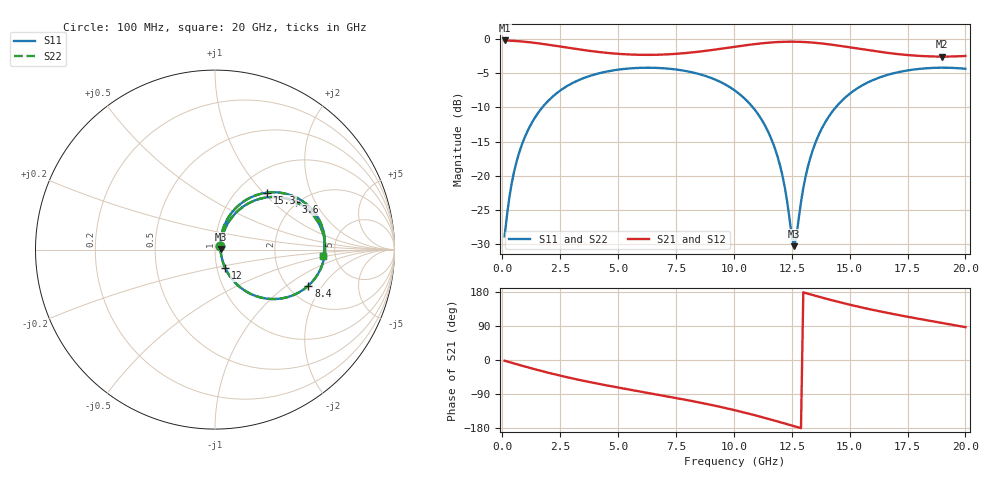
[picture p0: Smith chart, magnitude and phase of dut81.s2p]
! Touchstone file exported from HFSS 2026.1.0
!  File:  C:/ffzhzh/LocalFiles/Ansys_Project_Files/temp_train_TSV_RDL_81_1782971563_45308.aedt
!  Generated:  02:03:39 PM Jul  2, 2026
!  Design:  TSV_RDL
!  Project:  temp_train_TSV_RDL_81_1782971563_45308
! Variables:
!  h_bsmrdl = 5.05um
!  h_ox = 20um
!  h_rdl = 5um
!  h_sub = 78.54um
!  h_tmrdl = 2.31um
!  h_tsv = 78.54um
!  h_via = 3um
!  l_bsmrdl = 940.38um
!  l_sub = 4502.91um
!  l_tmrdl = 299.9um
!  m_sub = 200um
!  pitch = 55.79um
!  r_tsv = 13.66um
!  s_tmrdl = 10um
!  w_bsmrdl = 16.99um
!  w_sub = 500um
!  w_tmrdl = 10.4um
!  x_tsv_center1 = 305.1um
!  x_tsv_center2 = 1262.47um
!  x_tsv_center3 = 1572.77um
!  x_tsv_center4 = 2530.14um
!  x_tsv_center5 = 2840.44um
!  x_tsv_center6 = 3797.81um
# GHz S MA R 50.000000
! Terminal data exported
! Port[1] = TM_RDL1_1_T1
! Port[2] = TM_RDL5_1_T1
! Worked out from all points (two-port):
!   200 points, 100 MHz to 20 GHz, reference 50 ohm
!   highest |S21| = -0.26 dB at 100 MHz (marker M1); lowest = -2.6 dB at 19 GHz (marker M2)
!   |S21| within 3 dB of the highest: start of sweep to end of sweep
!   lowest |S11| = -30.3 dB at 12.6 GHz (marker M3), VSWR 1.06, Z = 53.2 + j0.166 ohm
!   |S11| at or under -10 dB: start of sweep to 1.736 GHz; 10.82 GHz to 14.4 GHz (3.588 GHz wide, 28.5 % of centre)
!   |S22| runs from -30.4 to -4.2 dB; largest |S21 - S12| = 1.6e-14
!   S11 on the Smith chart (normalised r, x): 100 MHz: 1.06, +0.04; 3.6 GHz: 1.94, +1.42; 8.4 GHz: 2.55, -1.48; 12 GHz: 1.10, -0.23; 15.3 GHz: 1.35, +1.05; 20 GHz: 3.98, -0.46
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0.1  0.03622 33.1  0.9701 -1.8  0.9701 -1.8  0.03622 33.1
! Gamma 0 0 0 0
! Port Impedance 50 0 50 0
0.3  0.06861 57.9  0.9673 -5.5  0.9673 -5.5  0.06861 57.9
0.5  0.1054 63.4  0.9631 -9.0  0.9631 -9.0  0.1054 63.4
1.1  0.2135 61.7  0.9443 -19.3  0.9443 -19.3  0.2135 61.7
2.1  0.368 49.5  0.8969 -35.3  0.8969 -35.3  0.368 49.5
3.5  0.5145 31.8  0.8259 -54.8  0.8259 -54.8  0.5145 31.8
3.6  0.5221 30.7  0.8215 -56.1  0.8215 -56.1  0.5221 30.6
5.2  0.5998 12.9  0.7712 -74.9  0.7712 -74.9  0.5998 12.9
6.8  0.6107 -3.8  0.7642 -92.4  0.7642 -92.4  0.6106 -3.8
8.4  0.5577 -21.1  0.8005 -110.7  0.8005 -110.7  0.5577 -21.1
10.1  0.4119 -41.8  0.8753 -133.4  0.8753 -133.4  0.4119 -41.9
11.2  0.2566 -55.9  0.9245 -150.5  0.9245 -150.5  0.2565 -56.0
12  0.1181 -60.9  0.9465 -164.1  0.9465 -164.1  0.118 -61.1
12.2  0.08253 -57.5  0.949 -167.6  0.949 -167.6  0.08239 -57.7
12.6  0.03069 2.9  0.9501 -174.6  0.9501 -174.6  0.03036 2.9
13  0.08146 64.9  0.9457 178.4  0.9457 178.4  0.08135 65.1
13.4  0.1524 68.8  0.9361 171.5  0.9361 171.5  0.1524 68.9
14.2  0.2857 61.4  0.9048 158.3  0.9048 158.3  0.2856 61.4
15.3  0.4308 47.4  0.8491 141.7  0.8491 141.7  0.4308 47.4
16.7  0.5481 30.8  0.785 123.5  0.785 123.5  0.5481 30.8
19  0.6141 6.7  0.7399 97.6  0.7399 97.6  0.6141 6.7
20  0.603 -3.5  0.7479 86.7  0.7479 86.7  0.6031 -3.5
